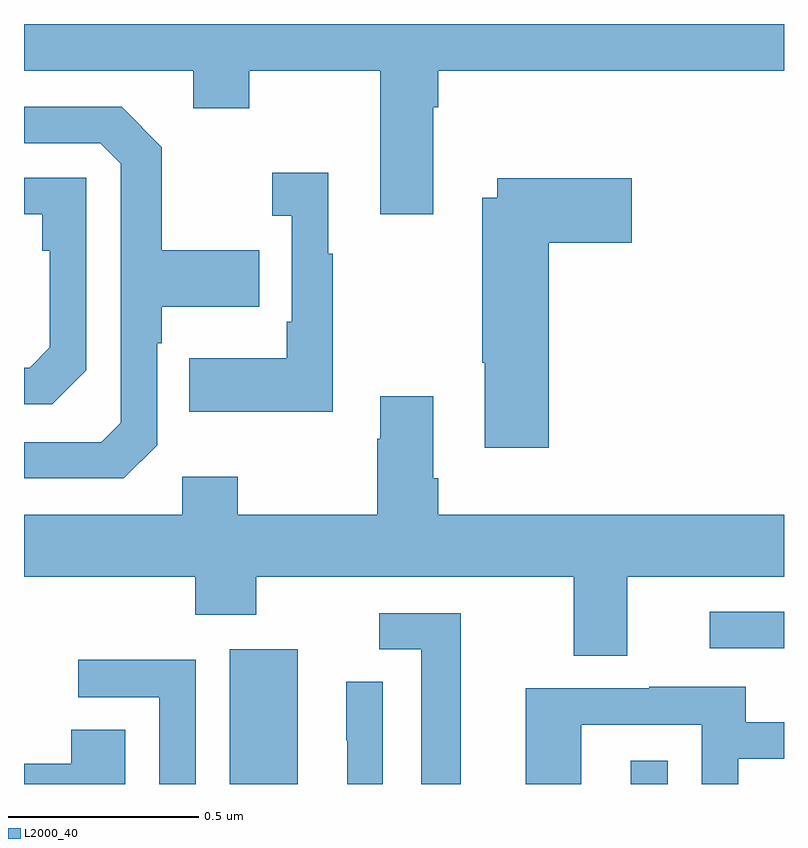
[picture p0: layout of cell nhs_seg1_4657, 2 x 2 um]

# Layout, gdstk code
import gdstk
lib = gdstk.Library(unit=1e-6, precision=1e-09)
def R(c, l, rs):  # rectangles x0, y0, x1, y1
    for r in rs: c.add(gdstk.rectangle(r[:2], r[2:], *l))
def P(c, l, *ps):  # polygons
    for p in ps: c.add(gdstk.Polygon(p, *l))
L2000_40 = (2000, 40)

nhs_seg1_4657 = lib.new_cell('nhs_seg1_4657')
R(nhs_seg1_4657, L2000_40, [(169.541,539.199,169.72,539.554), (170.597,539.199,170.694,539.26), (170.805,539.556,171,539.652)])
P(nhs_seg1_4657, L2000_40, [(170.077,540.98),(170.09,540.98),(170.09,541.076),(171,541.076),(171,541.199),(169,541.199),(169,541.076),(169.445,541.076),(169.445,540.977),(169.593,540.977),(169.593,541.076),(169.937,541.076),(169.937,540.699),(170.077,540.699)],
  [(169.35,540.09),(169.35,540.359),(169.363,540.359),(169.363,540.455),(169.619,540.455),(169.619,540.603),(169.363,540.603),(169.363,540.875),(169.257,540.981),(169,540.981),(169,540.885),(169.2,540.885),(169.254,540.831),(169.254,540.15),(169.203,540.099),(169,540.099),(169,540.003),(169.263,540.003)],
  [(169.813,540.595),(169.801,540.595),(169.801,540.808),(169.653,540.808),(169.653,540.695),(169.704,540.695),(169.704,540.415),(169.692,540.415),(169.692,540.319),(169.435,540.319),(169.435,540.179),(169.813,540.179)],
  [(169.164,540.288),(169.164,540.795),(169,540.795),(169,540.699),(169.048,540.699),(169.048,540.602),(169.068,540.602),(169.068,540.348),(169.015,540.295),(169,540.295),(169,540.198),(169.074,540.198)],
  [(170.381,540.623),(170.599,540.623),(170.599,540.793),(170.246,540.793),(170.246,540.742),(170.206,540.742),(170.206,540.307),(170.213,540.307),(170.213,540.084),(170.381,540.084)],
  [(170.587,539.744),(171,539.744),(171,539.908),(170.09,539.908),(170.09,540.004),(170.077,540.004),(170.077,540.22),(169.937,540.22),(169.937,540.107),(169.93,540.107),(169.93,539.908),(169.563,539.908),(169.563,540.007),(169.416,540.007),(169.416,539.908),(169,539.908),(169,539.744),(169.451,539.744),(169.451,539.645),(169.611,539.645),(169.611,539.744),(170.447,539.744),(170.447,539.536),(170.587,539.536)],
  [(170.149,539.649),(169.935,539.649),(169.935,539.553),(170.045,539.553),(170.045,539.199),(170.149,539.199)],
  [(169.452,539.526),(169.143,539.526),(169.143,539.427),(169.356,539.427),(169.356,539.199),(169.452,539.199)],
  [(169.944,539.468),(169.848,539.468),(169.848,539.314),(169.85,539.314),(169.85,539.199),(169.944,539.199)],
  [(170.466,539.355),(170.784,539.355),(170.784,539.199),(170.88,539.199),(170.88,539.265),(171,539.265),(171,539.361),(170.899,539.361),(170.899,539.455),(170.645,539.455),(170.645,539.451),(170.321,539.451),(170.321,539.199),(170.466,539.199)],
  [(169.267,539.342),(169.124,539.342),(169.124,539.252),(169,539.252),(169,539.199),(169.267,539.199)])

lib.write_gds('nhs_seg1_4657.gds')
